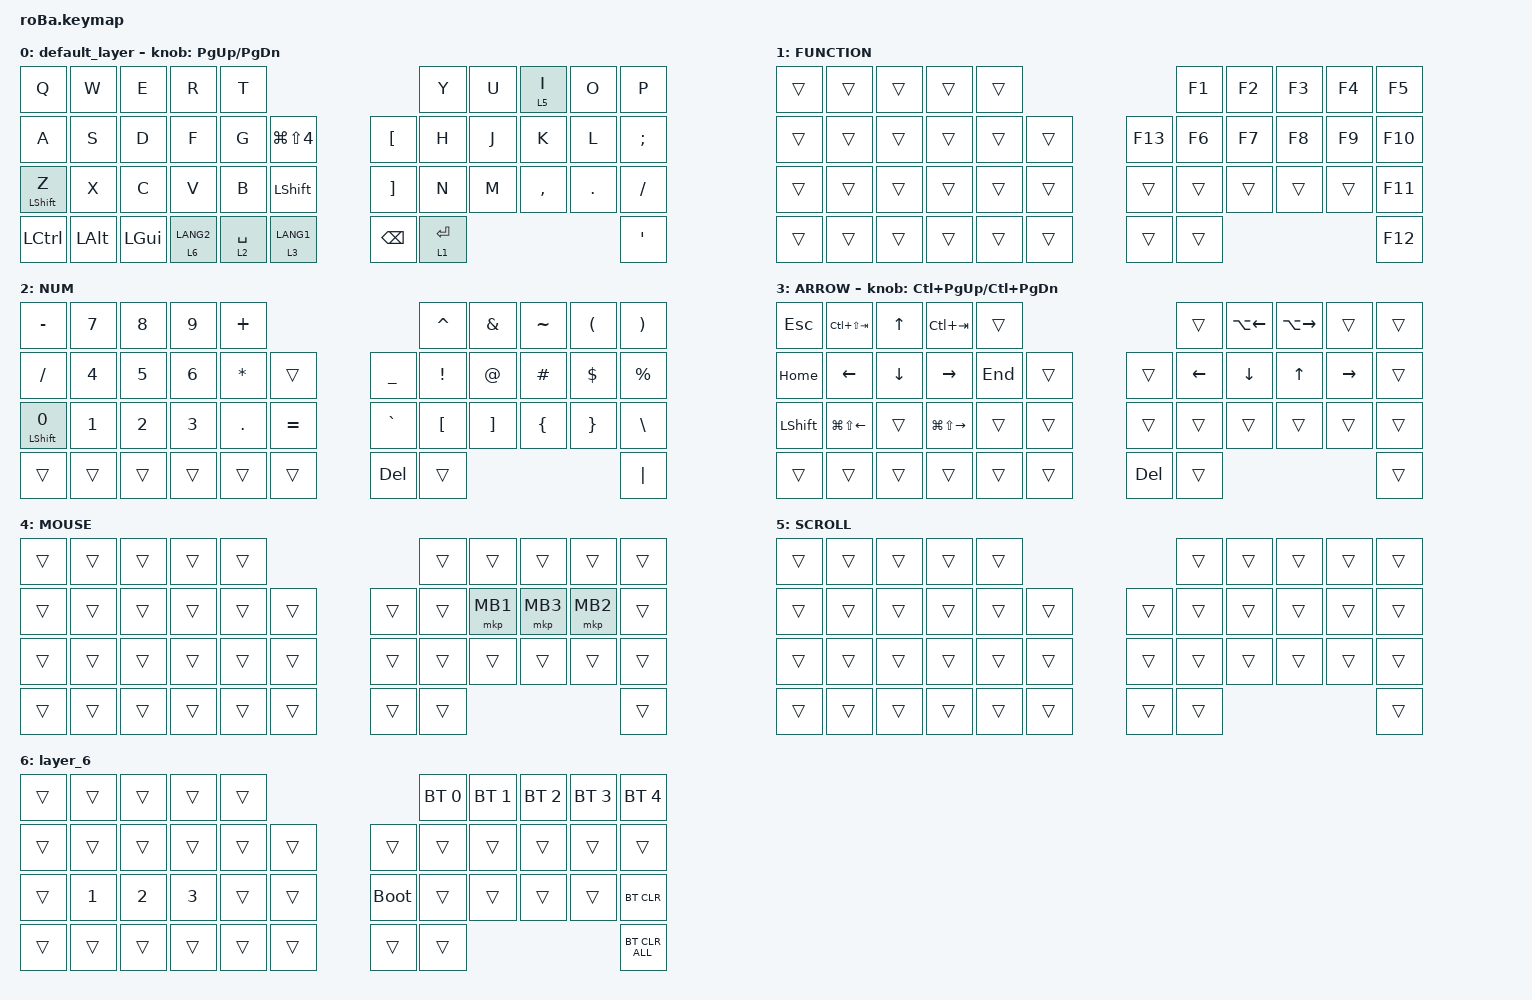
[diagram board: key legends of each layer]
#include <behaviors.dtsi>
#include <dt-bindings/zmk/bt.h>
#include <dt-bindings/zmk/keys.h>
#include <dt-bindings/zmk/pointing.h>

// roBa keymap for macOS (US/ANSI layout) - coding oriented
//
// Layers
//   0 BASE   : QWERTY
//   1 FUNC   : F-keys            (hold Enter)
//   2 NUM    : numbers + symbols (hold Space)
//   3 ARROW  : cursor / editing  (hold かな)
//   4 MOUSE  : auto mouse layer  (move trackball)
//   5 SCROLL : ball -> scroll    (hold I)
//   6 SYSTEM : Bluetooth etc.    (hold 英数)

&mt {
    flavor = "balanced";
    quick-tap-ms = <0>;
};

&trackball {
    automouse-layer = <4>;
    scroll-layers = <5>;
};

/ {
    combos {
        compatible = "zmk,combos";

        // S + D -> Tab
        tab {
            bindings = <&kp TAB>;
            key-positions = <11 12>;
        };

        // D + F -> Shift+Tab
        shift_tab {
            bindings = <&kp LS(TAB)>;
            key-positions = <12 13>;
        };

        // A + S -> 英数 + back to base layer
        eisu_to_base {
            bindings = <&to_layer_0 LANG2>;
            key-positions = <11 10>;
        };

        // J + K -> Esc
        esc {
            bindings = <&kp ESCAPE>;
            key-positions = <18 19>;
        };

        // L + ; -> "
        double_quotation {
            bindings = <&kp DOUBLE_QUOTES>;
            key-positions = <20 21>;
        };

        // C + V -> =
        eq {
            bindings = <&kp EQUAL>;
            key-positions = <24 25>;
        };

        // M + , -> -
        minus {
            bindings = <&kp MINUS>;
            key-positions = <30 31>;
        };
    };

    macros {
        to_layer_0: to_layer_0 {
            compatible = "zmk,behavior-macro-one-param";
            #binding-cells = <1>;
            bindings = <&to 0 &macro_param_1to1 &kp MACRO_PLACEHOLDER>;
            label = "TO_LAYER_0";
        };
    };

    behaviors {
        lt_to_layer_0: lt_to_layer_0 {
            compatible = "zmk,behavior-hold-tap";
            label = "LAYER_TAP_TO_0";
            bindings = <&mo>, <&to_layer_0>;

            #binding-cells = <2>;
            tapping-term-ms = <200>;
        };
    };

    keymap {
        compatible = "zmk,keymap";

        // ,-----------------------------------.                  ,-----------------------------------.
        // |  Q   |  W   |  E   |  R   |  T   |                  |  Y   |  U   |I/SCRL|  O   |  P   |
        // |  A   |  S   |  D   |  F   |  G   |[Enc]|      |  [  |  H   |  J   |  K   |  L   |  ;   |
        // |Z/Sft |  X   |  C   |  V   |  B   |Shift|      |  ]  |  N   |  M   |  ,   |  .   |  /   |
        // | Ctrl | Opt  | Cmd  |英数/L6|Spc/L2|かな/L3|    | BS  |Ent/L1|                    |  '   |
        // `-----------------------------------'                  `-----------------------------------'
        default_layer {
            bindings = <
&kp Q             &kp W         &kp E         &kp R                    &kp T                                                     &kp Y        &kp U  &lt 5 I    &kp O    &kp P
&kp A             &kp S         &kp D         &kp F                    &kp G        &kp LG(LS(N4))                 &kp LBKT      &kp H        &kp J  &kp K      &kp L    &kp SEMI
&mt LEFT_SHIFT Z  &kp X         &kp C         &kp V                    &kp B        &kp LSHIFT                     &kp RBKT      &kp N        &kp M  &kp COMMA  &kp DOT  &kp SLASH
&kp LCTRL         &kp LALT      &kp LGUI      &lt_to_layer_0 6 LANG2   &lt 2 SPACE  &lt_to_layer_0 3 LANG1         &kp BACKSPACE &lt 1 ENTER                             &kp SQT
            >;

            sensor-bindings = <&inc_dec_kp PG_UP PAGE_DOWN>;
        };

        FUNCTION {
            bindings = <
&trans  &trans  &trans  &trans  &trans                       &kp F1  &kp F2  &kp F3  &kp F4  &kp F5
&trans  &trans  &trans  &trans  &trans  &trans      &kp F13  &kp F6  &kp F7  &kp F8  &kp F9  &kp F10
&trans  &trans  &trans  &trans  &trans  &trans      &trans   &trans  &trans  &trans  &trans  &kp F11
&trans  &trans  &trans  &trans  &trans  &trans      &trans   &trans                          &kp F12
            >;
        };

        // ,-----------------------------------.                  ,-----------------------------------.
        // |  -   |  7   |  8   |  9   |  +   |                  |  ^   |  &   |  ~   |  (   |  )   |
        // |  /   |  4   |  5   |  6   |  *   |     |      |  _  |  !   |  @   |  #   |  $   |  %   |
        // |0/Sft |  1   |  2   |  3   |  .   |  =  |      |  `  |  [   |  ]   |  {   |  }   |  \   |
        // |      |      |      |      |(hold)|     |      | Del |      |                    |  |   |
        // `-----------------------------------'                  `-----------------------------------'
        NUM {
            bindings = <
&kp MINUS          &kp N7  &kp N8  &kp N9  &kp PLUS                         &kp CARET  &kp AMPERSAND  &kp TILDE  &kp LPAR  &kp RPAR
&kp SLASH          &kp N4  &kp N5  &kp N6  &kp ASTERISK  &trans      &kp UNDERSCORE  &kp EXCLAMATION  &kp AT_SIGN  &kp HASH  &kp DOLLAR  &kp PERCENT
&mt LEFT_SHIFT N0  &kp N1  &kp N2  &kp N3  &kp PERIOD    &kp EQUAL   &kp GRAVE       &kp LBKT  &kp RBKT  &kp LBRC  &kp RBRC  &kp BACKSLASH
&trans             &trans  &trans  &trans  &trans        &trans      &kp DEL         &trans                                  &kp PIPE
            >;
        };

        // ,-----------------------------------.                  ,-----------------------------------.
        // | Esc  |PrvTab|  Up  |NxtTab|      |                  |      |Opt+← |Opt+→ |      |      |
        // | Home | Left | Down |Right | End  |     |      |     | Left | Down |  Up  |Right |      |
        // |Shift |SelHom|      |SelEnd|      |     |      |     |      |      |      |      |      |
        // |      |      |      |      |      |(hold)|     | Del |      |                    |      |
        // `-----------------------------------'                  `-----------------------------------'
        ARROW {
            bindings = <
&kp ESCAPE      &kp LC(LS(TAB))         &kp UP_ARROW    &kp LC(TAB)              &trans                     &trans  &kp LA(LEFT)  &kp LA(RIGHT)  &trans  &trans
&kp HOME        &kp LEFT_ARROW          &kp DOWN_ARROW  &kp RIGHT_ARROW          &kp END  &trans    &trans  &kp LEFT  &kp DOWN    &kp UP         &kp RIGHT  &trans
&kp LEFT_SHIFT  &kp LG(LS(LEFT_ARROW))  &trans          &kp LG(LS(RIGHT_ARROW))  &trans   &trans    &trans  &trans    &trans      &trans         &trans     &trans
&trans          &trans                  &trans          &trans                   &trans   &trans    &kp DEL &trans                                          &trans
            >;

            sensor-bindings = <&inc_dec_kp LC(PAGE_UP) LC(PAGE_DOWN)>;
        };

        MOUSE {
            bindings = <
&trans  &trans  &trans  &trans  &trans                      &trans  &trans    &trans    &trans    &trans
&trans  &trans  &trans  &trans  &trans  &trans      &trans  &trans  &mkp MB1  &mkp MB3  &mkp MB2  &trans
&trans  &trans  &trans  &trans  &trans  &trans      &trans  &trans  &trans    &trans    &trans    &trans
&trans  &trans  &trans  &trans  &trans  &trans      &trans  &trans                                &trans
            >;
        };

        SCROLL {
            bindings = <
&trans  &trans  &trans  &trans  &trans                      &trans  &trans  &trans  &trans  &trans
&trans  &trans  &trans  &trans  &trans  &trans      &trans  &trans  &trans  &trans  &trans  &trans
&trans  &trans  &trans  &trans  &trans  &trans      &trans  &trans  &trans  &trans  &trans  &trans
&trans  &trans  &trans  &trans  &trans  &trans      &trans  &trans                          &trans
            >;
        };

        layer_6 {
            bindings = <
&trans  &trans        &trans        &trans        &trans                           &bt BT_SEL 0  &bt BT_SEL 1  &bt BT_SEL 2  &bt BT_SEL 3  &bt BT_SEL 4
&trans  &trans        &trans        &trans        &trans  &trans      &trans       &trans        &trans        &trans        &trans        &trans
&trans  &kp NUMBER_1  &kp NUMBER_2  &kp NUMBER_3  &trans  &trans      &bootloader  &trans        &trans        &trans        &trans        &bt BT_CLR
&trans  &trans        &trans        &trans        &trans  &trans      &trans       &trans                                                  &bt BT_CLR_ALL
            >;
        };
    };
};
